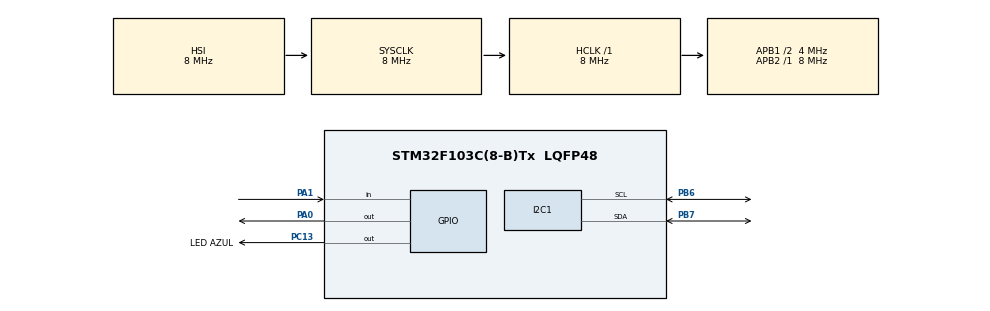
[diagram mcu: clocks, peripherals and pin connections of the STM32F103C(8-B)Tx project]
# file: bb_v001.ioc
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I2C1.I2C_Mode=I2C_Fast
Mcu.Family=STM32F1
Mcu.Name=STM32F103C(8-B)Tx
Mcu.Package=LQFP48
NVIC.PriorityGroup=NVIC_PRIORITYGROUP_4
PA0-WKUP.Signal=GPIO_Output
PA1.Signal=GPIO_Input
PA13.Mode=Serial_Wire
PA13.Signal=SYS_JTMS-SWDIO
PA14.Mode=Serial_Wire
PA14.Signal=SYS_JTCK-SWCLK
PB6.Mode=I2C
PB6.Signal=I2C1_SCL
PB7.Mode=I2C
PB7.Signal=I2C1_SDA
PC13-TAMPER-RTC.GPIO_Label=LED AZUL
PC13-TAMPER-RTC.Signal=GPIO_Output
PD0-OSC_IN.Mode=HSE-External-Oscillator
PD0-OSC_IN.Signal=RCC_OSC_IN
PD1-OSC_OUT.Mode=HSE-External-Oscillator
PD1-OSC_OUT.Signal=RCC_OSC_OUT
ProjectManager.HeapSize=0x200
ProjectManager.StackSize=0x400
ProjectManager.TargetToolchain=STM32CubeIDE
RCC.ADCPresc=RCC_ADCPCLK2_DIV6
RCC.AHBFreq_Value=8000000
RCC.APB1CLKDivider=RCC_HCLK_DIV2
RCC.APB1Freq_Value=4000000
RCC.APB1TimFreq_Value=8000000
RCC.APB2Freq_Value=8000000
RCC.APB2TimFreq_Value=8000000
RCC.HCLKFreq_Value=8000000
RCC.PLLMUL=RCC_PLL_MUL9
RCC.PLLSourceVirtual=RCC_PLLSOURCE_HSE
RCC.SYSCLKFreq_VALUE=8000000
RCC.USBFreq_Value=72000000
VP_TIM2_VS_ClockSourceINT.Mode=Internal
board=custom

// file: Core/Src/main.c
/* USER CODE BEGIN Header */
/**
  ******************************************************************************
  * @file           : main.c
  * @brief          : Main program body
  ******************************************************************************
  * @attention
  *
  * Copyright (c) 2025 STMicroelectronics.
  * All rights reserved.
  *
  * This software is licensed under terms that can be found in the LICENSE file
  * in the root directory of this software component.
  * If no LICENSE file comes with this software, it is provided AS-IS.
  *
  ******************************************************************************
  */
/* USER CODE END Header */
#include "main.h"
#include "i2c.h"
#include "tim.h"
#include "gpio.h"

/* USER CODE BEGIN Includes */
#include "fonts.h"
#include "ssd1306.h"
#include "ultrasonic.h"
#include "stdio.h"
/* USER CODE END Includes */

void SystemClock_Config(void);

int main(void)
{

  /* MCU Configuration--------------------------------------------------------*/

  /* Reset of all peripherals, Initializes the Flash interface and the Systick. */
  HAL_Init();

  /* Configure the system clock */
  SystemClock_Config();

  /* Initialize all configured peripherals */
  MX_GPIO_Init();
  MX_I2C1_Init();
  MX_TIM2_Init();
  /* USER CODE BEGIN 2 */
  SSD1306_Init();

  Ultrasonic_Init();

  SSD1306_GotoXY (20, 0);
  SSD1306_Puts ("B&B", &Font_11x18, 1);
  SSD1306_UpdateScreen();
  HAL_Delay(1500);

  char string[15];

  /* USER CODE END 2 */

  /* Infinite loop */
  /* USER CODE BEGIN WHILE */
  while (1)
  {
	  uint16_t dist = Ultrasonic_Read();
	  SSD1306_GotoXY (20, 0);
	  SSD1306_Puts ("Distance", &Font_11x18, 1);
	  sprintf(string,"%d    ", dist);
	  SSD1306_GotoXY (55, 30);
	  SSD1306_Puts (string, &Font_16x26, 1);
	  SSD1306_UpdateScreen();
	  HAL_Delay(50);
    /* USER CODE END WHILE */

  }
}

void SystemClock_Config(void)
{
  RCC_OscInitTypeDef RCC_OscInitStruct = {0};
  RCC_ClkInitTypeDef RCC_ClkInitStruct = {0};

  /** Initializes the RCC Oscillators according to the specified parameters
  * in the RCC_OscInitTypeDef structure.
  */
  RCC_OscInitStruct.OscillatorType = RCC_OSCILLATORTYPE_HSI;
  RCC_OscInitStruct.HSIState = RCC_HSI_ON;
  RCC_OscInitStruct.HSICalibrationValue = RCC_HSICALIBRATION_DEFAULT;
  RCC_OscInitStruct.PLL.PLLState = RCC_PLL_NONE;
  if (HAL_RCC_OscConfig(&RCC_OscInitStruct) != HAL_OK)
  {
    Error_Handler();
  }

  /** Initializes the CPU, AHB and APB buses clocks
  */
  RCC_ClkInitStruct.ClockType = RCC_CLOCKTYPE_HCLK|RCC_CLOCKTYPE_SYSCLK
                              |RCC_CLOCKTYPE_PCLK1|RCC_CLOCKTYPE_PCLK2;
  RCC_ClkInitStruct.SYSCLKSource = RCC_SYSCLKSOURCE_HSI;
  RCC_ClkInitStruct.AHBCLKDivider = RCC_SYSCLK_DIV1;
  RCC_ClkInitStruct.APB1CLKDivider = RCC_HCLK_DIV2;
  RCC_ClkInitStruct.APB2CLKDivider = RCC_HCLK_DIV1;

  if (HAL_RCC_ClockConfig(&RCC_ClkInitStruct, FLASH_LATENCY_0) != HAL_OK)
  {
    Error_Handler();
  }
}

void Error_Handler(void)
{
  __disable_irq();
  while (1)
  {
  }
}
